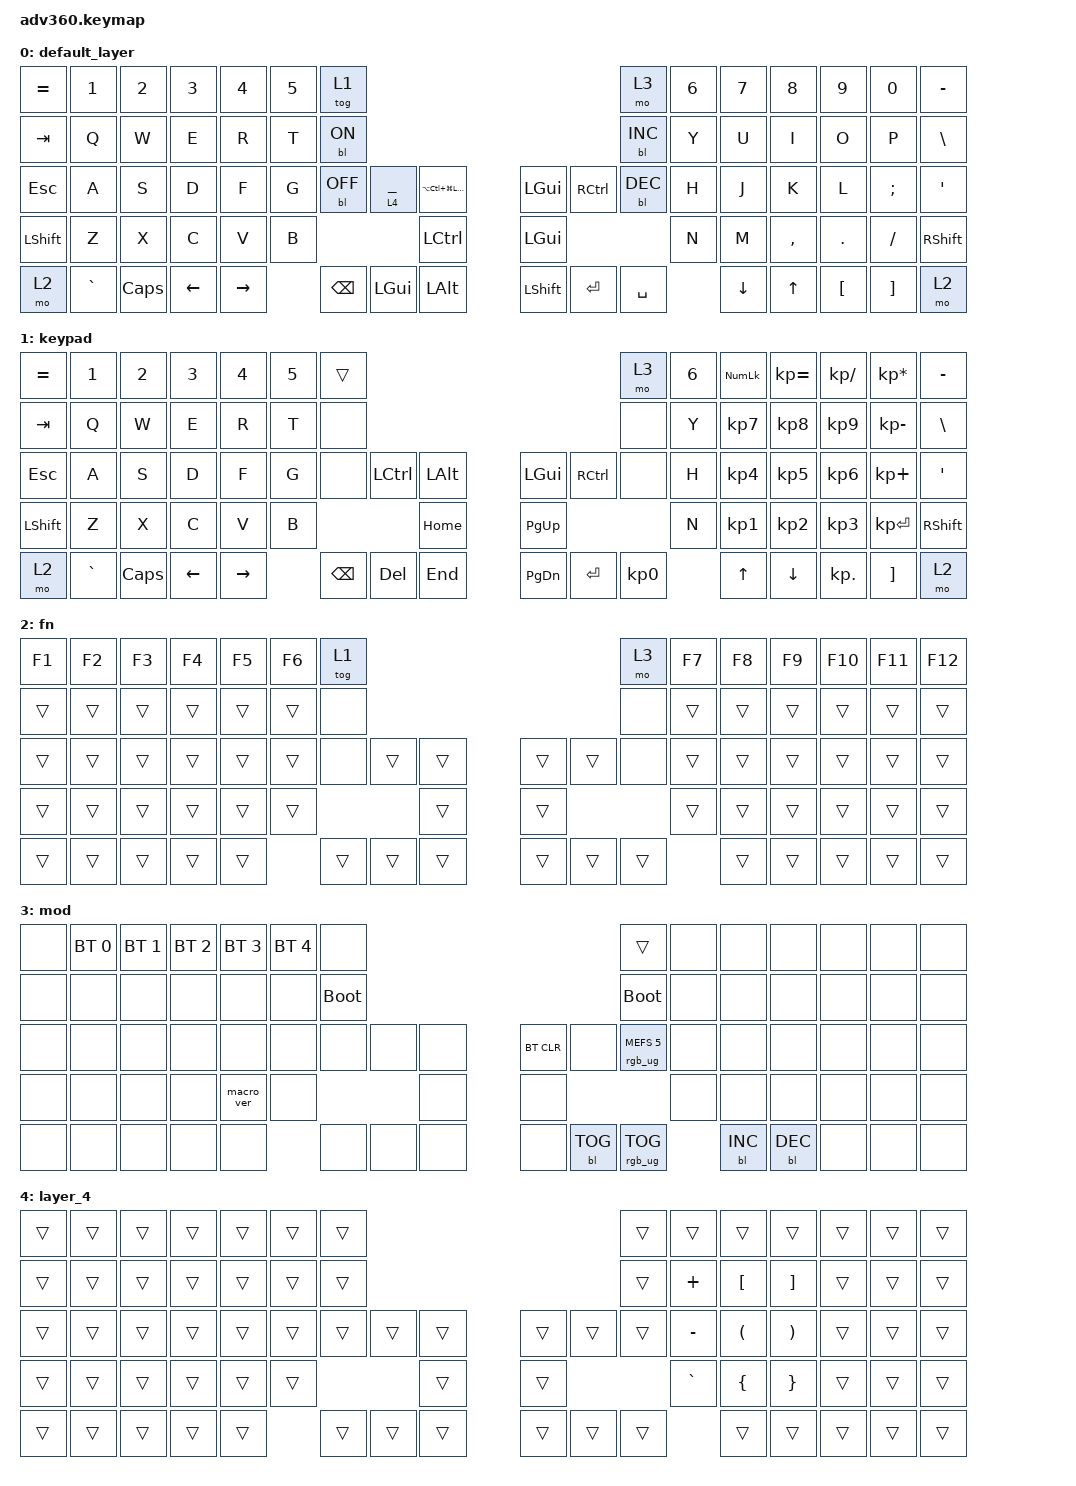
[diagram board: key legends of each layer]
#include <behaviors.dtsi>
#include <dt-bindings/zmk/backlight.h>
#include <dt-bindings/zmk/bt.h>
#include <dt-bindings/zmk/keys.h>
#include <dt-bindings/zmk/rgb.h>

/ {
    behaviors {
        #include "macros.dtsi"
      #include "version.dtsi"
      #ifndef VERSION_MACRO

        macro_ver: macro_ver {
            compatible = "zmk,behavior-macro";
            label = "macro_version";
            #binding-cells = <0>;
            bindings = <&kp RET>;
        };

        #endif

        hm: homerow_mods {
            compatible = "zmk,behavior-hold-tap";
            label = "HOMEROW_MODS";
            #binding-cells = <2>;
            tapping-term-ms = <200>;
            quick_tap_ms = <175>;
            flavor = "tap-preferred";
            bindings = <&kp>, <&kp>;
        };
    };

    macros {
    };

    keymap {
        compatible = "zmk,keymap";

        default_layer {
            bindings = <
&kp EQUAL  &kp N1     &kp N2    &kp N3    &kp N4     &kp N5  &tog 1                                                                         &mo 3       &kp N6  &kp N7          &kp N8        &kp N9    &kp N0    &kp MINUS
&kp TAB    &kp Q      &kp W     &kp E     &kp R      &kp T   &bl BL_ON                                                                      &bl BL_INC  &kp Y   &kp U           &kp I         &kp O     &kp P     &kp BSLH
&kp ESC    &kp A      &kp S     &kp D     &kp F      &kp G   &bl BL_OFF  &lt 4 UNDER   &kp LA(LC(LG(LALT)))      &kp LGUI        &kp RCTRL  &bl BL_DEC  &kp H   &kp J           &kp K         &kp L     &kp SEMI  &kp SQT
&kp LSHFT  &kp Z      &kp X     &kp C     &kp V      &kp B                             &kp LEFT_CONTROL          &kp LGUI                               &kp N   &kp M           &kp COMMA     &kp DOT   &kp FSLH  &kp RSHFT
&mo 2      &kp GRAVE  &kp CAPS  &kp LEFT  &kp RIGHT          &kp BSPC    &kp LEFT_GUI  &kp LEFT_ALT              &kp LEFT_SHIFT  &kp ENTER  &kp SPACE           &kp DOWN_ARROW  &kp UP_ARROW  &kp LBKT  &kp RBKT  &mo 2
            >;
        };

        keypad {
            bindings = <
&kp EQUAL  &kp N1     &kp N2    &kp N3    &kp N4     &kp N5  &trans                                                   &mo 3      &kp N6  &kp KP_NUM  &kp KP_EQUAL  &kp KP_DIVIDE  &kp KP_MULTIPLY  &kp MINUS
&kp TAB    &kp Q      &kp W     &kp E     &kp R      &kp T   &none                                                    &none      &kp Y   &kp KP_N7   &kp KP_N8     &kp KP_N9      &kp KP_MINUS     &kp BSLH
&kp ESC    &kp A      &kp S     &kp D     &kp F      &kp G   &none     &kp LCTRL  &kp LALT      &kp LGUI   &kp RCTRL  &none      &kp H   &kp KP_N4   &kp KP_N5     &kp KP_N6      &kp KP_PLUS      &kp SQT
&kp LSHFT  &kp Z      &kp X     &kp C     &kp V      &kp B                        &kp HOME      &kp PG_UP                        &kp N   &kp KP_N1   &kp KP_N2     &kp KP_N3      &kp KP_ENTER     &kp RSHFT
&mo 2      &kp GRAVE  &kp CAPS  &kp LEFT  &kp RIGHT          &kp BSPC  &kp DEL    &kp END       &kp PG_DN  &kp ENTER  &kp KP_N0          &kp UP      &kp DOWN      &kp KP_DOT     &kp RBKT         &mo 2
            >;
        };

        fn {
            bindings = <
&kp F1  &kp F2  &kp F3  &kp F4  &kp F5  &kp F6  &tog 1                                      &mo 3   &kp F7  &kp F8  &kp F9  &kp F10  &kp F11  &kp F12
&trans  &trans  &trans  &trans  &trans  &trans  &none                                       &none   &trans  &trans  &trans  &trans   &trans   &trans
&trans  &trans  &trans  &trans  &trans  &trans  &none   &trans  &trans      &trans  &trans  &none   &trans  &trans  &trans  &trans   &trans   &trans
&trans  &trans  &trans  &trans  &trans  &trans                  &trans      &trans                  &trans  &trans  &trans  &trans   &trans   &trans
&trans  &trans  &trans  &trans  &trans          &trans  &trans  &trans      &trans  &trans  &trans          &trans  &trans  &trans   &trans   &trans
            >;
        };

        mod {
            bindings = <
&none  &bt BT_SEL 0  &bt BT_SEL 1  &bt BT_SEL 2  &bt BT_SEL 3  &bt BT_SEL 4  &none                                                  &trans                  &none  &none       &none       &none  &none  &none
&none  &none         &none         &none         &none         &none         &bootloader                                            &bootloader             &none  &none       &none       &none  &none  &none
&none  &none         &none         &none         &none         &none         &none        &none  &none      &bt BT_CLR  &none       &rgb_ug RGB_MEFS_CMD 5  &none  &none       &none       &none  &none  &none
&none  &none         &none         &none         &macro_ver    &none                             &none      &none                                           &none  &none       &none       &none  &none  &none
&none  &none         &none         &none         &none                       &none        &none  &none      &none       &bl BL_TOG  &rgb_ug RGB_TOG                &bl BL_INC  &bl BL_DEC  &none  &none  &none
            >;
        };

        layer_4 {
            bindings = <
&trans  &trans  &trans  &trans  &trans  &trans  &trans                                      &trans  &trans     &trans                &trans                 &trans  &trans  &trans
&trans  &trans  &trans  &trans  &trans  &trans  &trans                                      &trans  &kp PLUS   &kp LEFT_BRACKET      &kp RIGHT_BRACKET      &trans  &trans  &trans
&trans  &trans  &trans  &trans  &trans  &trans  &trans  &trans  &trans      &trans  &trans  &trans  &kp MINUS  &kp LEFT_PARENTHESIS  &kp RIGHT_PARENTHESIS  &trans  &trans  &trans
&trans  &trans  &trans  &trans  &trans  &trans                  &trans      &trans                  &kp GRAVE  &kp LEFT_BRACE        &kp RIGHT_BRACE        &trans  &trans  &trans
&trans  &trans  &trans  &trans  &trans          &trans  &trans  &trans      &trans  &trans  &trans             &trans                &trans                 &trans  &trans  &trans
            >;
        };
    };
};
